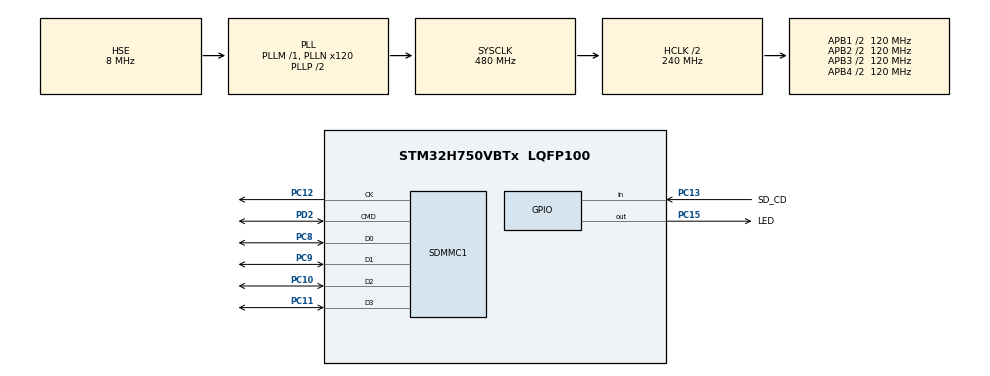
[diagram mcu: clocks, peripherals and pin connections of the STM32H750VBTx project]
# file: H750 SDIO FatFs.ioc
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FATFS.BSP.number=1
FATFS._FS_EXFAT=1
FATFS._USE_LFN=1
FATFS0.BSP.STBoard=false
FATFS0.BSP.api=Unknown
FATFS0.BSP.i2caddr=0
FATFS0.BSP.instance=PC13
FATFS0.BSP.ip=GPIO
FATFS0.BSP.mode=Input
FATFS0.BSP.name=Detect_SDIO
FATFS0.BSP.solution=PC13
Mcu.Family=STM32H7
Mcu.Name=STM32H750VBTx
Mcu.Package=LQFP100
NVIC.PriorityGroup=NVIC_PRIORITYGROUP_4
NVIC.SDMMC1_IRQn=true\:0\:0\:false\:false\:true\:true\:true
PA13\ (JTMS/SWDIO).Mode=Trace_Asynchronous_SW
PA13\ (JTMS/SWDIO).Signal=DEBUG_JTMS-SWDIO
PA14\ (JTCK/SWCLK).Mode=Trace_Asynchronous_SW
PA14\ (JTCK/SWCLK).Signal=DEBUG_JTCK-SWCLK
PB3\ (JTDO/TRACESWO).Mode=Trace_Asynchronous_SW
PB3\ (JTDO/TRACESWO).Signal=DEBUG_JTDO-SWO
PC10.Mode=SD_4_bits_Wide_bus
PC10.Signal=SDMMC1_D2
PC11.Mode=SD_4_bits_Wide_bus
PC11.Signal=SDMMC1_D3
PC12.Mode=SD_4_bits_Wide_bus
PC12.Signal=SDMMC1_CK
PC13.GPIO_Label=SD_CD
PC13.Signal=GPIO_Input
PC15-OSC32_OUT\ (OSC32_OUT).GPIO_Label=LED
PC15-OSC32_OUT\ (OSC32_OUT).Signal=GPIO_Output
PC8.Mode=SD_4_bits_Wide_bus
PC8.Signal=SDMMC1_D0
PC9.Mode=SD_4_bits_Wide_bus
PC9.Signal=SDMMC1_D1
PD2.Mode=SD_4_bits_Wide_bus
PD2.Signal=SDMMC1_CMD
PH0-OSC_IN\ (PH0).Mode=HSE-External-Oscillator
PH0-OSC_IN\ (PH0).Signal=RCC_OSC_IN
PH1-OSC_OUT\ (PH1).Mode=HSE-External-Oscillator
PH1-OSC_OUT\ (PH1).Signal=RCC_OSC_OUT
ProjectManager.HeapSize=0x2000
ProjectManager.StackSize=0x4000
ProjectManager.TargetToolchain=STM32CubeIDE
RCC.ADCFreq_Value=84000000
RCC.APB1Freq_Value=120000000
RCC.APB2Freq_Value=120000000
RCC.APB3Freq_Value=120000000
RCC.APB4Freq_Value=120000000
RCC.CortexFreq_Value=480000000
RCC.D1PPRE=RCC_APB3_DIV2
RCC.D2PPRE1=RCC_APB1_DIV2
RCC.D2PPRE2=RCC_APB2_DIV2
RCC.D3PPRE=RCC_APB4_DIV2
RCC.DIVM1=1
RCC.DIVM2=1
RCC.DIVN1=120
RCC.DIVN2=21
RCC.DIVQ1=20
RCC.DIVR2=7
RCC.HCLKFreq_Value=240000000
RCC.HPRE=RCC_HCLK_DIV2
RCC.HSE_VALUE=8000000
RCC.PLL2FRACN=0
RCC.PLLFRACN=0
RCC.PLLSourceVirtual=RCC_PLLSOURCE_HSE
RCC.SDMMC1CLockSelection=RCC_SDMMCCLKSOURCE_PLL2
RCC.SYSCLKFreq_VALUE=480000000
RCC.SYSCLKSource=RCC_SYSCLKSOURCE_PLLCLK
RCC.USBFreq_Value=48000000
VP_FATFS_VS_SDIO.Mode=SDIO
board=custom

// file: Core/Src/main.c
/* USER CODE BEGIN Header */
/**
  ******************************************************************************
  * @file           : main.c
  * @brief          : Main program body
  ******************************************************************************
  * @attention
  *
  * <h2><center>&copy; Copyright (c) 2020 STMicroelectronics.
  * All rights reserved.</center></h2>
  *
  * This software component is licensed by ST under BSD 3-Clause license,
  * the "License"; You may not use this file except in compliance with the
  * License. You may obtain a copy of the License at:
  *                        opensource.org/licenses/BSD-3-Clause
  *
  ******************************************************************************
  */
/* USER CODE END Header */

#include "main.h"
#include "fatfs.h"
#include "sdmmc.h"
#include "gpio.h"

/* USER CODE BEGIN PV */
FIL MyFile;     /* File object */
int rest = 500;

/* USER CODE END PV */

void SystemClock_Config(void);

/* USER CODE BEGIN 0 */
void HAL_SYSTICK_Callback(void)
{
	static int cnt = 0;

	cnt++;
	if(cnt > rest)
	{
		cnt = 0;
		HAL_GPIO_TogglePin(LED_GPIO_Port, LED_Pin);
	}
}

void SDIO_Test(void)
{
  FRESULT res;                                          		/* FatFs function common result code */
  uint32_t byteswritten, bytesread;                     		/* File write/read counts */
  uint8_t wtext[] = "This is STM32H750 working with FatFs"; /* File write buffer */
  TCHAR* fname = "STM32H750VBT6 Demo Board.TXT"; 						/* File Name */
  uint8_t rtext[100];                                   		/* File read buffer */

  if(f_mount(&SDFatFS, (TCHAR const*)SDPath, 0) != FR_OK)
	{
		/* FatFs Initialization Error */
		Error_Handler();
	}
	else
	{
		/*##-4- Create and Open a new text file object with write access #####*/
		if(f_open(&MyFile, fname, FA_CREATE_ALWAYS | FA_WRITE) != FR_OK)
		{
			Error_Handler();
		}
		else
		{
			/*##-5- Write data to the text file ################################*/
			res = f_write(&MyFile, wtext, sizeof(wtext), (void *)&byteswritten);

			if((byteswritten == 0) || (res != FR_OK))
			{
				Error_Handler();
			}
			else
			{
				/*##-6- Close the open text file #################################*/
				f_close(&MyFile);

				/*##-7- Open the text file object with read access ###############*/
				if(f_open(&MyFile, fname, FA_READ) != FR_OK)
				{
					Error_Handler();
				}
				else
				{
					/*##-8- Read data from the text file ###########################*/
					res = f_read(&MyFile, rtext, sizeof(rtext), (UINT*)&bytesread);

					if((bytesread == 0) || (res != FR_OK)) /* EOF or Error */
					{
						Error_Handler();
					}
					else
					{
						/*##-9- Close the open text file #############################*/
						f_close(&MyFile);

						/*##-10- Compare read data with the expected data ############*/
						if ((bytesread != byteswritten))
						{
							/* Read data is different from the expected data */
							Error_Handler();
						}
						else
						{
							/* Success of the demo: no error occurrence */
							// BSP_LED_On(LED1);
							rest = 1000;
						}
					}
				}
			}
		}
	}
}

/* USER CODE END 0 */

int main(void)
{

  /* MCU Configuration--------------------------------------------------------*/

  /* Reset of all peripherals, Initializes the Flash interface and the Systick. */
  HAL_Init();

  /* Configure the system clock */
  SystemClock_Config();

  /* Initialize all configured peripherals */
  MX_GPIO_Init();
  MX_SDMMC1_SD_Init();
  MX_FATFS_Init();
  /* USER CODE BEGIN 2 */
  SDIO_Test();

  /* USER CODE END 2 */

  /* Infinite loop */
  while (1)
  {

  }
}

void SystemClock_Config(void)
{
  RCC_OscInitTypeDef RCC_OscInitStruct = {0};
  RCC_ClkInitTypeDef RCC_ClkInitStruct = {0};
  RCC_PeriphCLKInitTypeDef PeriphClkInitStruct = {0};

  /** Supply configuration update enable
  */
  HAL_PWREx_ConfigSupply(PWR_LDO_SUPPLY);
  /** Configure the main internal regulator output voltage
  */
  __HAL_PWR_VOLTAGESCALING_CONFIG(PWR_REGULATOR_VOLTAGE_SCALE0);

  while(!__HAL_PWR_GET_FLAG(PWR_FLAG_VOSRDY)) {}
  /** Macro to configure the PLL clock source
  */
  __HAL_RCC_PLL_PLLSOURCE_CONFIG(RCC_PLLSOURCE_HSE);
  /** Initializes the CPU, AHB and APB busses clocks
  */
  RCC_OscInitStruct.OscillatorType = RCC_OSCILLATORTYPE_HSE;
  RCC_OscInitStruct.HSEState = RCC_HSE_ON;
  RCC_OscInitStruct.PLL.PLLState = RCC_PLL_ON;
  RCC_OscInitStruct.PLL.PLLSource = RCC_PLLSOURCE_HSE;
  RCC_OscInitStruct.PLL.PLLM = 1;
  RCC_OscInitStruct.PLL.PLLN = 120;
  RCC_OscInitStruct.PLL.PLLP = 2;
  RCC_OscInitStruct.PLL.PLLQ = 20;
  RCC_OscInitStruct.PLL.PLLR = 2;
  RCC_OscInitStruct.PLL.PLLRGE = RCC_PLL1VCIRANGE_3;
  RCC_OscInitStruct.PLL.PLLVCOSEL = RCC_PLL1VCOWIDE;
  RCC_OscInitStruct.PLL.PLLFRACN = 0;
  if (HAL_RCC_OscConfig(&RCC_OscInitStruct) != HAL_OK)
  {
    Error_Handler();
  }
  /** Initializes the CPU, AHB and APB busses clocks
  */
  RCC_ClkInitStruct.ClockType = RCC_CLOCKTYPE_HCLK|RCC_CLOCKTYPE_SYSCLK
                              |RCC_CLOCKTYPE_PCLK1|RCC_CLOCKTYPE_PCLK2
                              |RCC_CLOCKTYPE_D3PCLK1|RCC_CLOCKTYPE_D1PCLK1;
  RCC_ClkInitStruct.SYSCLKSource = RCC_SYSCLKSOURCE_PLLCLK;
  RCC_ClkInitStruct.SYSCLKDivider = RCC_SYSCLK_DIV1;
  RCC_ClkInitStruct.AHBCLKDivider = RCC_HCLK_DIV2;
  RCC_ClkInitStruct.APB3CLKDivider = RCC_APB3_DIV2;
  RCC_ClkInitStruct.APB1CLKDivider = RCC_APB1_DIV2;
  RCC_ClkInitStruct.APB2CLKDivider = RCC_APB2_DIV2;
  RCC_ClkInitStruct.APB4CLKDivider = RCC_APB4_DIV2;

  if (HAL_RCC_ClockConfig(&RCC_ClkInitStruct, FLASH_LATENCY_4) != HAL_OK)
  {
    Error_Handler();
  }
  PeriphClkInitStruct.PeriphClockSelection = RCC_PERIPHCLK_SDMMC;
  PeriphClkInitStruct.PLL2.PLL2M = 1;
  PeriphClkInitStruct.PLL2.PLL2N = 21;
  PeriphClkInitStruct.PLL2.PLL2P = 2;
  PeriphClkInitStruct.PLL2.PLL2Q = 2;
  PeriphClkInitStruct.PLL2.PLL2R = 7;
  PeriphClkInitStruct.PLL2.PLL2RGE = RCC_PLL2VCIRANGE_3;
  PeriphClkInitStruct.PLL2.PLL2VCOSEL = RCC_PLL2VCOMEDIUM;
  PeriphClkInitStruct.PLL2.PLL2FRACN = 0;
  PeriphClkInitStruct.SdmmcClockSelection = RCC_SDMMCCLKSOURCE_PLL2;
  if (HAL_RCCEx_PeriphCLKConfig(&PeriphClkInitStruct) != HAL_OK)
  {
    Error_Handler();
  }
}

void Error_Handler(void)
{
  /* USER CODE BEGIN Error_Handler_Debug */
  /* User can add his own implementation to report the HAL error return state */
	rest = 100;
	while(1){;}

  /* USER CODE END Error_Handler_Debug */
}

/************************ (C) COPYRIGHT STMicroelectronics *****END OF FILE****/
